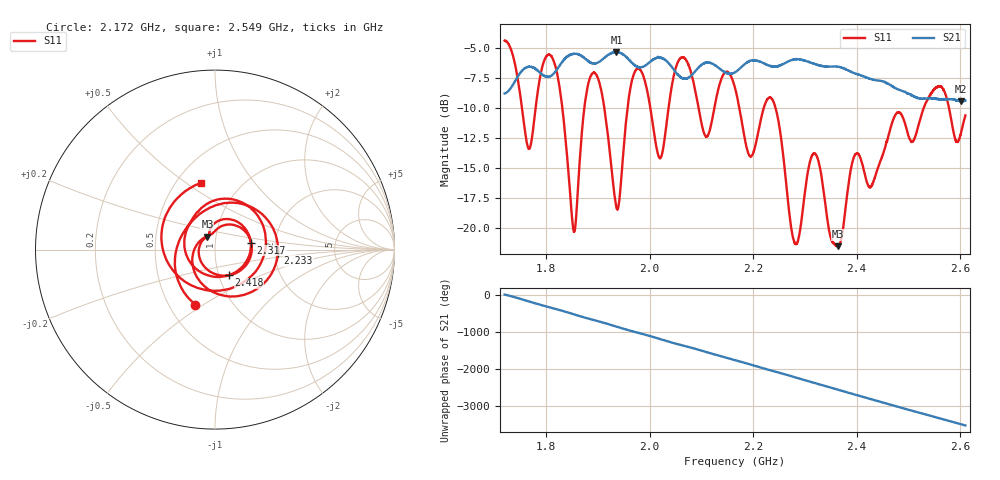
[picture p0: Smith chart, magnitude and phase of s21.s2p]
# HZ S RI R 50
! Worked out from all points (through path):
!   3030 points, 1.72 GHz to 2.61 GHz, reference 50 ohm
!   highest |S21| = -5.29 dB at 1.936 GHz (marker M1); lowest = -9.4 dB at 2.601 GHz (marker M2)
!   lowest |S11| = -21.5 dB at 2.364 GHz (marker M3), VSWR 1.18, Z = 45.5 + j6.68 ohm
!   |S11| at or under -10 dB: 1.913 GHz to 1.957 GHz (44.52 MHz wide, 2.3 % of centre); 2.174 GHz to 2.22 GHz (46.8 MHz wide, 2.13 % of centre); 2.244 GHz to 2.529 GHz (285.5 MHz wide, 12 % of centre)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
!   S12 and S22 are empty: the file has one direction only
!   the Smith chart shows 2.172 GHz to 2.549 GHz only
!   S11 on the Smith chart (normalised r, x): 2.172 GHz: 0.68, -0.46; 2.233 GHz: 2.08, -0.09; 2.317 GHz: 1.50, +0.12; 2.418 GHz: 1.11, -0.33; 2.549 GHz: 0.66, +0.57
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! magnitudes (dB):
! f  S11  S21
! 1.72 GHz  -4.3  -8.8
! 1.767 GHz  -13.4  -6.5
! 1.815 GHz  -6.0  -7.1
! 1.854 GHz  -20.3  -5.5
! 1.868 GHz  -12.4  -5.6
! 1.898 GHz  -7.3  -6.2
! 1.936 GHz  -18.3  -5.3
! 1.974 GHz  -6.8  -6.5
! 2.017 GHz  -13.9  -5.8
! 2.06 GHz  -5.8  -7.4
! 2.165 GHz  -8.3  -7.0
! 2.172 GHz  -9.8  -6.7
! 2.233 GHz  -9.1  -6.5
! 2.281 GHz  -21.2  -5.9
! 2.314 GHz  -13.9  -6.2
! 2.317 GHz  -13.7  -6.3
! 2.364 GHz  -21.5  -6.5
! 2.418 GHz  -15.8  -7.4
! 2.462 GHz  -12.2  -8.0
! 2.549 GHz  -8.4  -9.1
! 2.601 GHz  -12.2  -9.4
! 2.61 GHz  -10.6  -9.3
